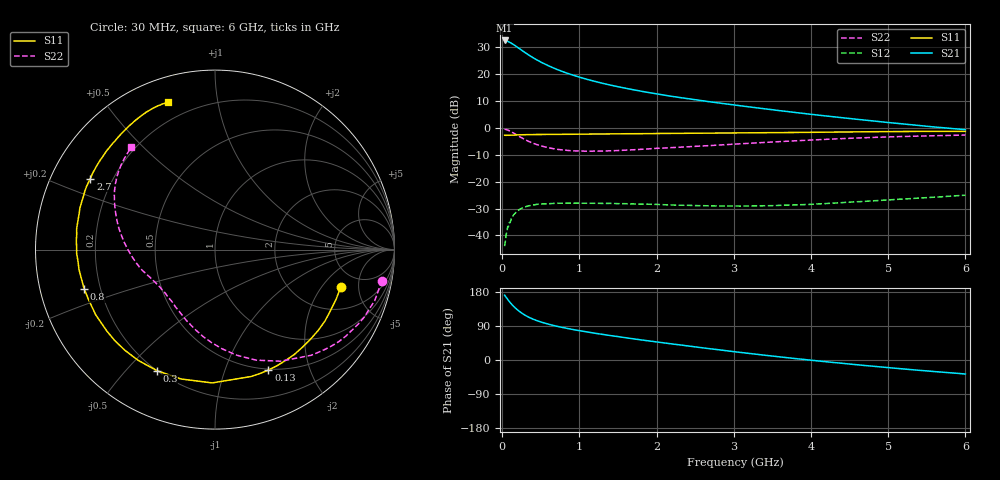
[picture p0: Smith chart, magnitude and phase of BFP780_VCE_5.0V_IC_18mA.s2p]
! Infineon Technologies  Discrete & RF Semiconductors
! BFP780
! VCE =  5.0 V,  IC =  18 mA
! Common Emitter S-Parameters:  Jul 2015
# GHz  S  MA  R  50
!  f  S11  S21  S12  S22
! GHz  MAG  ANG  MAG  ANG  MAG  ANG  MAG  ANG
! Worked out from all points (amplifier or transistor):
!   75 points, 30 MHz to 6 GHz, reference 50 ohm
!   highest |S21| = 32.6 dB at 30 MHz (marker M1)
!   |S21| within 3 dB of that: start of sweep to 219.6 MHz
!   unconditionally stable (mu >= 1): 2.341 GHz to end of sweep
!   at 150 MHz: K = 0.12, MSG = 31.6 dB, |S12| = -32.2 dB
!   at 2.3 GHz: K = 0.99, MSG = 20.0 dB, |S12| = -28.8 dB
!   at 6 GHz: K = 1.27, MAG = 9.1 dB, |S12| = -25.1 dB
!   S11 on the Smith chart (normalised r, x): 30 MHz: 3.47, -3.13; 130 MHz: 0.49, -1.42; 300 MHz: 0.20, -0.61; 800 MHz: 0.14, -0.14; 2.7 GHz: 0.12, +0.26; 6 GHz: 0.11, +0.72
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0.03  0.731 -16.7  42.45 171.2  0.0063 67.0  0.9478 -10.5
0.05  0.7277 -28.0  41.9 165.2  0.0104 61.8  0.9342 -17.7
0.08  0.7296 -43.3  40.35 157.1  0.0145 63.6  0.8998 -27.4
0.11  0.7323 -57.4  38.23 149.7  0.0189 57.4  0.8581 -36.9
0.13  0.7344 -66.1  36.76 145.1  0.0222 56.0  0.8264 -42.4
0.15  0.7352 -74.1  35.23 140.9  0.0245 52.2  0.7963 -47.7
0.2  0.7429 -91.2  31.45 131.6  0.0289 43.4  0.721 -59.6
0.25  0.7453 -104.7  27.99 123.9  0.032 37.7  0.6571 -69.6
0.3  0.748 -115.7  24.96 117.6  0.0341 32.5  0.6005 -78.4
0.35  0.7509 -124.7  22.39 112.2  0.0357 28.4  0.5541 -85.9
0.4  0.7528 -131.8  20.2 107.7  0.0368 25.2  0.518 -92.2
0.5  0.7544 -143.0  16.8 100.3  0.0385 20.3  0.4632 -102.9
0.6  0.7574 -151.4  14.3 94.4  0.0389 16.4  0.427 -111.7
0.8  0.761 -163.2  10.93 85.0  0.0397 11.6  0.3871 -124.9
1.1  0.766 -175.2  8.001 73.9  0.0396 7.1  0.3679 -138.9
1.5  0.775 173.9  5.84 61.7  0.039 4.1  0.3792 -151.3
2.1  0.7886 161.1  4.074 45.0  0.0372 2.5  0.4229 -164.5
2.7  0.7994 150.3  3.052 29.5  0.0355 4.5  0.4704 -176.6
3.1  0.8089 143.6  2.567 19.7  0.0351 7.2  0.5081 175.3
4.1  0.8309 128.6  1.728 -2.7  0.0386 14.7  0.6044 157.3
5.1  0.8566 116.5  1.222 -21.9  0.0467 17.2  0.6863 142.1
6  0.8632 107.8  0.926 -37.0  0.0559 14.9  0.7365 129.2
